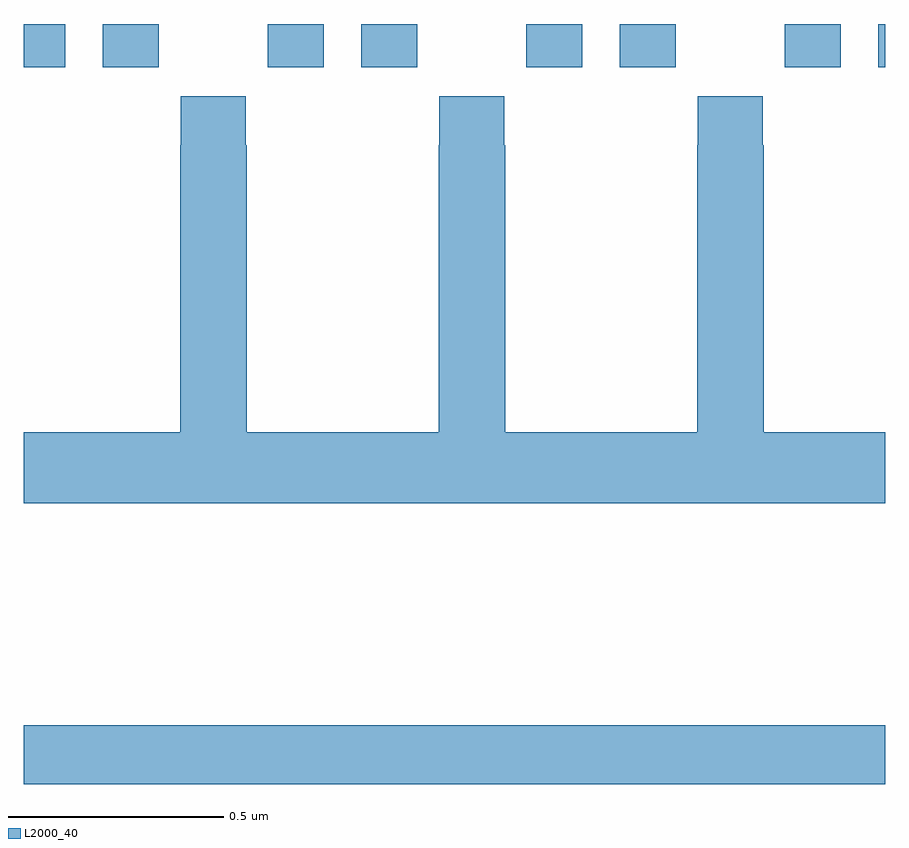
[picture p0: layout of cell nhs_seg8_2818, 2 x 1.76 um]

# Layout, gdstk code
import gdstk
lib = gdstk.Library(unit=1e-6, precision=1e-09)
def R(c, l, rs):  # rectangles x0, y0, x1, y1
    for r in rs: c.add(gdstk.rectangle(r[:2], r[2:], *l))
def P(c, l, *ps):  # polygons
    for p in ps: c.add(gdstk.Polygon(p, *l))
L2000_40 = (2000, 40)

nhs_seg8_2818 = lib.new_cell('nhs_seg8_2818')
R(nhs_seg8_2818, L2000_40, [(148,1161.136,150,1161.272), (148,1162.8,148.096,1162.9), (148.184,1162.8,148.314,1162.9), (148.566,1162.8,148.696,1162.9), (148.784,1162.8,148.914,1162.9), (149.166,1162.8,149.296,1162.9), (149.384,1162.8,149.514,1162.9), (149.766,1162.8,149.896,1162.9), (149.984,1162.8,150,1162.9)])
P(nhs_seg8_2818, L2000_40, [(150,1161.952),(149.718,1161.952),(149.718,1162.619),(149.715,1162.619),(149.715,1162.732),(149.565,1162.732),(149.565,1162.619),(149.563,1162.619),(149.563,1161.952),(149.118,1161.952),(149.118,1162.619),(149.115,1162.619),(149.115,1162.732),(148.965,1162.732),(148.965,1162.619),(148.963,1162.619),(148.963,1161.952),(148.518,1161.952),(148.518,1162.619),(148.515,1162.619),(148.515,1162.732),(148.365,1162.732),(148.365,1162.619),(148.363,1162.619),(148.363,1161.952),(148,1161.952),(148,1161.788),(150,1161.788)])

lib.write_gds('nhs_seg8_2818.gds')
